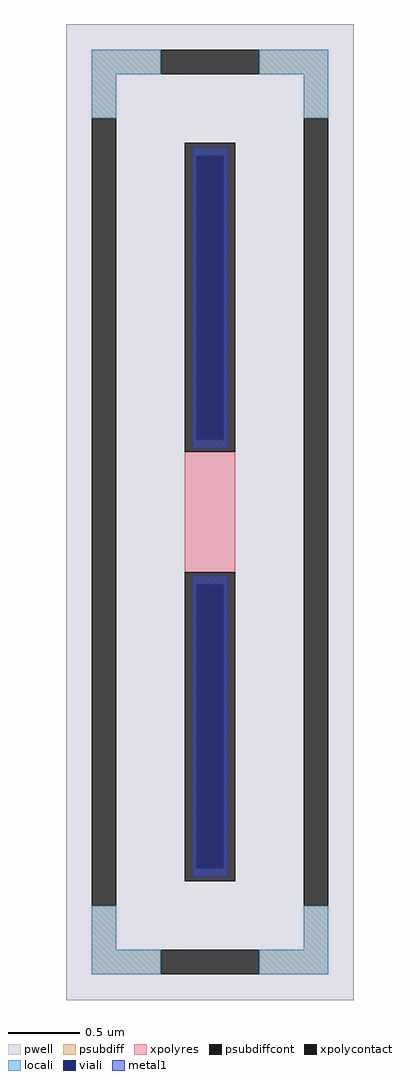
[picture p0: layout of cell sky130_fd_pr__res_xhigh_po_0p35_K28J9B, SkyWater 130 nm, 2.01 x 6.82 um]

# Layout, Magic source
magic
tech sky130A
magscale 1 2
<< pwell >>
rect -201 -682 201 682
<< psubdiff >>
rect -165 612 -69 646
rect 69 612 165 646
rect -165 550 -131 612
rect 131 550 165 612
rect -165 -612 -131 -550
rect 131 -612 165 -550
rect -165 -646 -69 -612
rect 69 -646 165 -612
<< psubdiffcont >>
rect -69 612 69 646
rect -165 -550 -131 550
rect 131 -550 165 550
rect -69 -646 69 -612
<< xpolycontact >>
rect -35 84 35 516
rect -35 -516 35 -84
<< xpolyres >>
rect -35 -84 35 84
<< locali >>
rect -165 612 -69 646
rect 69 612 165 646
rect -165 550 -131 612
rect 131 550 165 612
rect -165 -612 -131 -550
rect 131 -612 165 -550
rect -165 -646 -69 -612
rect 69 -646 165 -612
<< viali >>
rect -19 101 19 498
rect -19 -498 19 -101
<< metal1 >>
rect -25 498 25 510
rect -25 101 -19 498
rect 19 101 25 498
rect -25 89 25 101
rect -25 -101 25 -89
rect -25 -498 -19 -101
rect 19 -498 25 -101
rect -25 -510 25 -498
<< properties >>
string FIXED_BBOX -148 -629 148 629
string gencell sky130_fd_pr__res_xhigh_po_0p35
string library sky130
string parameters w 0.35 l 1 m 1 nx 1 wmin 0.350 lmin 0.50 rho 2000 val 6.789k dummy 0 dw 0.0 term 188.2 sterm 0.0 caplen 0 wmax 0.350 guard 1 glc 1 grc 1 gtc 1 gbc 1 compatible {sky130_fd_pr__res_xhigh_po_0p35  sky130_fd_pr__res_xhigh_po_0p69 sky130_fd_pr__res_xhigh_po_1p41  sky130_fd_pr__res_xhigh_po_2p85 sky130_fd_pr__res_xhigh_po_5p73} snake 0 full_metal 1 n_guard 0 hv_guard 0 vias 1 viagb 0 viagt 0 viagl 0 viagr 0
<< end >>
